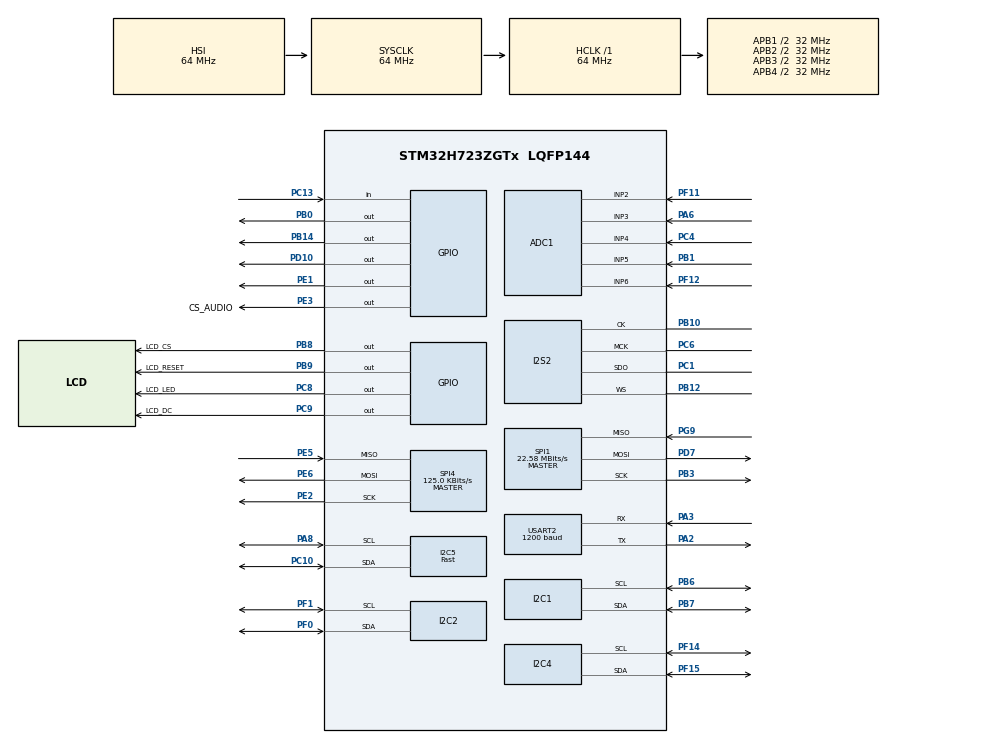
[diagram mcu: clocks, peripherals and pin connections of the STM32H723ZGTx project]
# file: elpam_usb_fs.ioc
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ADC1.Channel-0\#ChannelRegularConversion=ADC_CHANNEL_2
ADC1.Channel-1\#ChannelRegularConversion=ADC_CHANNEL_3
ADC1.Channel-2\#ChannelRegularConversion=ADC_CHANNEL_4
ADC1.Channel-3\#ChannelRegularConversion=ADC_CHANNEL_5
ADC1.Channel-4\#ChannelRegularConversion=ADC_CHANNEL_6
ADC1.ClockPrescaler=ADC_CLOCK_ASYNC_DIV12
ADC1.ContinuousConvMode=ENABLE
ADC1.ConversionDataManagement=ADC_CONVERSIONDATA_DMA_CIRCULAR
ADC1.NbrOfConversion=5
ADC1.NbrOfConversionFlag=1
ADC1.OffsetNumber-0\#ChannelRegularConversion=ADC_OFFSET_NONE
ADC1.OffsetNumber-1\#ChannelRegularConversion=ADC_OFFSET_NONE
ADC1.OffsetNumber-2\#ChannelRegularConversion=ADC_OFFSET_NONE
ADC1.OffsetNumber-3\#ChannelRegularConversion=ADC_OFFSET_NONE
ADC1.OffsetNumber-4\#ChannelRegularConversion=ADC_OFFSET_NONE
ADC1.OffsetSignedSaturation-0\#ChannelRegularConversion=DISABLE
ADC1.OffsetSignedSaturation-1\#ChannelRegularConversion=DISABLE
ADC1.OffsetSignedSaturation-2\#ChannelRegularConversion=DISABLE
ADC1.OffsetSignedSaturation-3\#ChannelRegularConversion=DISABLE
ADC1.OffsetSignedSaturation-4\#ChannelRegularConversion=DISABLE
ADC1.Rank-0\#ChannelRegularConversion=1
ADC1.Rank-1\#ChannelRegularConversion=2
ADC1.Rank-2\#ChannelRegularConversion=3
ADC1.Rank-3\#ChannelRegularConversion=4
ADC1.Rank-4\#ChannelRegularConversion=5
ADC1.SamplingTime-0\#ChannelRegularConversion=ADC_SAMPLETIME_810CYCLES_5
ADC1.SamplingTime-1\#ChannelRegularConversion=ADC_SAMPLETIME_810CYCLES_5
ADC1.SamplingTime-2\#ChannelRegularConversion=ADC_SAMPLETIME_810CYCLES_5
ADC1.SamplingTime-3\#ChannelRegularConversion=ADC_SAMPLETIME_810CYCLES_5
ADC1.SamplingTime-4\#ChannelRegularConversion=ADC_SAMPLETIME_810CYCLES_5
ADC1.master=1
CORTEX_M7.default_mode_Activation=1
Dma.ADC1.1.Direction=DMA_PERIPH_TO_MEMORY
Dma.ADC1.1.EventEnable=DISABLE
Dma.ADC1.1.FIFOMode=DMA_FIFOMODE_DISABLE
Dma.ADC1.1.Instance=DMA1_Stream1
Dma.ADC1.1.MemDataAlignment=DMA_MDATAALIGN_HALFWORD
Dma.ADC1.1.MemInc=DMA_MINC_ENABLE
Dma.ADC1.1.Mode=DMA_CIRCULAR
Dma.ADC1.1.PeriphDataAlignment=DMA_PDATAALIGN_HALFWORD
Dma.ADC1.1.PeriphInc=DMA_PINC_DISABLE
Dma.ADC1.1.Polarity=HAL_DMAMUX_REQ_GEN_RISING
Dma.ADC1.1.Priority=DMA_PRIORITY_LOW
Dma.ADC1.1.RequestNumber=1
Dma.ADC1.1.SignalID=NONE
Dma.ADC1.1.SyncEnable=DISABLE
Dma.ADC1.1.SyncPolarity=HAL_DMAMUX_SYNC_NO_EVENT
Dma.ADC1.1.SyncRequestNumber=1
Dma.ADC1.1.SyncSignalID=NONE
Dma.Request0=SPI2_TX
Dma.Request1=ADC1
Dma.SPI2_TX.0.Direction=DMA_MEMORY_TO_PERIPH
Dma.SPI2_TX.0.EventEnable=DISABLE
Dma.SPI2_TX.0.FIFOMode=DMA_FIFOMODE_DISABLE
Dma.SPI2_TX.0.Instance=DMA1_Stream0
Dma.SPI2_TX.0.MemDataAlignment=DMA_MDATAALIGN_HALFWORD
Dma.SPI2_TX.0.MemInc=DMA_MINC_ENABLE
Dma.SPI2_TX.0.Mode=DMA_CIRCULAR
Dma.SPI2_TX.0.PeriphDataAlignment=DMA_PDATAALIGN_HALFWORD
Dma.SPI2_TX.0.PeriphInc=DMA_PINC_DISABLE
Dma.SPI2_TX.0.Polarity=HAL_DMAMUX_REQ_GEN_RISING
Dma.SPI2_TX.0.Priority=DMA_PRIORITY_VERY_HIGH
Dma.SPI2_TX.0.RequestNumber=1
Dma.SPI2_TX.0.SignalID=NONE
Dma.SPI2_TX.0.SyncEnable=DISABLE
Dma.SPI2_TX.0.SyncPolarity=HAL_DMAMUX_SYNC_NO_EVENT
Dma.SPI2_TX.0.SyncRequestNumber=1
Dma.SPI2_TX.0.SyncSignalID=NONE
FATFS._CODE_PAGE=862
FATFS._LFN_UNICODE=0
FATFS._MAX_LFN=32
FATFS._MAX_SS=4096
FATFS._USE_LFN=2
FREERTOS.BinarySemaphores01=myBinarySem02,Dynamic,NULL,Available
FREERTOS.Mutexes01=timeRtcMutex,Dynamic,NULL,Available;lcdMutex,Dynamic,NULL,Available
FREERTOS.Queues01=xLCDQueue,16,LCDTaskEvent_t,0,Dynamic,NULL,NULL;xAudioQueue,16,AudioEvent_t,0,Dynamic,NULL,NULL;xUartQueue,16,UartEvent_t,0,Dynamic,NULL,NULL
FREERTOS.Tasks01=defaultTask,24,128,StartDefaultTask,Default,NULL,Dynamic,NULL,NULL;UART_Receive_Ta,24,512,UART_Receive_Task,Default,NULL,Dynamic,NULL,NULL;AudioPlaybackTa,24,1024,AudioPlaybackTask,Default,NULL,Dynamic,NULL,NULL;LCDTask,8,1024,LCDStartTask,Default,NULL,Dynamic,NULL,NULL;InputTask_Name,8,512,InputTask,Default,NULL,Dynamic,NULL,NULL
FREERTOS.configUSE_NEWLIB_REENTRANT=1
I2C1.Timing=0x00707CBB
I2C2.Timing=0x00707CBB
I2C4.Timing=0x00707CBB
I2C5.I2C_Speed_Mode=I2C_Fast
I2C5.Timing=0x00300F38
I2S2.AudioFreq=I2S_AUDIOFREQ_44K
I2S2.ErrorAudioFreq=0.22 %
I2S2.Instance=SPI$Index
I2S2.RealAudioFreq=44.101 KHz
Mcu.Family=STM32H7
Mcu.Name=STM32H723ZGTx
Mcu.Package=LQFP144
NUCLEO-H723ZG.BUTTON=1
NUCLEO-H723ZG.LD1=true
NUCLEO-H723ZG.LD2=true
NUCLEO-H723ZG.LD3=true
NUCLEO-H723ZG.VCP=true
NVIC.DMA1_Stream0_IRQn=true\:5\:0\:false\:false\:true\:true\:false\:true\:true
NVIC.DMA1_Stream1_IRQn=true\:5\:0\:false\:false\:true\:true\:false\:true\:true
NVIC.EXTI15_10_IRQn=true\:5\:0\:false\:false\:true\:true\:false\:true\:true
NVIC.PriorityGroup=NVIC_PRIORITYGROUP_4
NVIC.RTC_WKUP_IRQn=true\:5\:0\:false\:false\:true\:true\:true\:true\:true
NVIC.TIM1_UP_IRQn=true\:15\:0\:false\:false\:true\:false\:false\:true\:true
NVIC.TimeBase=TIM1_UP_IRQn
NVIC.TimeBaseIP=TIM1
NVIC.USART2_IRQn=true\:5\:0\:false\:false\:true\:true\:true\:true\:true
PA13(JTMS/SWDIO).GPIO_Label=SWDIO
PA13(JTMS/SWDIO).Mode=Serial_Wire
PA13(JTMS/SWDIO).Signal=DEBUG_JTMS-SWDIO
PA14(JTCK/SWCLK).GPIO_Label=SWCLK
PA14(JTCK/SWCLK).Mode=Serial_Wire
PA14(JTCK/SWCLK).Signal=DEBUG_JTCK-SWCLK
PA2.Mode=Asynchronous
PA2.Signal=USART2_TX
PA3.Mode=Asynchronous
PA3.Signal=USART2_RX
PA6.Signal=ADCx_INP3
PA8.Mode=I2C
PA8.Signal=I2C5_SCL
PB0.Signal=GPIO_Output
PB1.Signal=ADCx_INP5
PB10.GPIO_Speed=GPIO_SPEED_FREQ_LOW
PB10.Mode=Half_Duplex_Master_Tx
PB10.Signal=I2S2_CK
PB12.GPIO_Speed=GPIO_SPEED_FREQ_LOW
PB12.Mode=Half_Duplex_Master_Tx
PB12.Signal=I2S2_WS
PB14.Signal=GPIO_Output
PB3(JTDO/TRACESWO).GPIO_Speed=GPIO_SPEED_FREQ_VERY_HIGH
PB3(JTDO/TRACESWO).Mode=Full_Duplex_Master
PB3(JTDO/TRACESWO).Signal=SPI1_SCK
PB6.Mode=I2C
PB6.Signal=I2C1_SCL
PB7.Mode=I2C
PB7.Signal=I2C1_SDA
PB8.GPIO_Label=LCD_CS
PB8.GPIO_Speed=GPIO_SPEED_FREQ_VERY_HIGH
PB8.Signal=GPIO_Output
PB9.GPIO_Label=LCD_RESET
PB9.GPIO_Speed=GPIO_SPEED_FREQ_VERY_HIGH
PB9.Signal=GPIO_Output
PC1.GPIO_Speed=GPIO_SPEED_FREQ_LOW
PC1.Mode=Half_Duplex_Master_Tx
PC1.Signal=I2S2_SDO
PC10.Mode=I2C
PC10.Signal=I2C5_SDA
PC13.Signal=GPIO_Input
PC14-OSC32_IN.Mode=LSE-External-Oscillator
PC14-OSC32_IN.Signal=RCC_OSC32_IN
PC15-OSC32_OUT.Mode=LSE-External-Oscillator
PC15-OSC32_OUT.Signal=RCC_OSC32_OUT
PC4.Signal=ADCx_INP4
PC6.GPIO_Speed=GPIO_SPEED_FREQ_LOW
PC6.Mode=Master_Clock_Activated
PC6.Signal=I2S2_MCK
PC8.GPIO_Label=LCD_LED
PC8.GPIO_Speed=GPIO_SPEED_FREQ_VERY_HIGH
PC8.Signal=GPIO_Output
PC9.GPIO_Label=LCD_DC
PC9.GPIO_Speed=GPIO_SPEED_FREQ_VERY_HIGH
PC9.Signal=GPIO_Output
PD10.Signal=GPIO_Output
PD7.GPIO_Speed=GPIO_SPEED_FREQ_VERY_HIGH
PD7.Mode=Full_Duplex_Master
PD7.Signal=SPI1_MOSI
PD8.Signal=USART3_TX
PD9.Signal=USART3_RX
PE1.Signal=GPIO_Output
PE2.GPIO_PuPd=GPIO_PULLUP
PE2.GPIO_Speed=GPIO_SPEED_FREQ_VERY_HIGH
PE2.Mode=Full_Duplex_Master
PE2.Signal=SPI4_SCK
PE3.GPIO_Label=CS_AUDIO
PE3.Signal=GPIO_Output
PE5.GPIO_PuPd=GPIO_PULLUP
PE5.GPIO_Speed=GPIO_SPEED_FREQ_VERY_HIGH
PE5.Mode=Full_Duplex_Master
PE5.Signal=SPI4_MISO
PE6.GPIO_PuPd=GPIO_PULLUP
PE6.GPIO_Speed=GPIO_SPEED_FREQ_VERY_HIGH
PE6.Mode=Full_Duplex_Master
PE6.Signal=SPI4_MOSI
PF0.Mode=I2C
PF0.Signal=I2C2_SDA
PF1.Mode=I2C
PF1.Signal=I2C2_SCL
PF11.Mode=IN2-Single-Ended
PF11.Signal=ADC1_INP2
PF12.Mode=IN6-Single-Ended
PF12.Signal=ADC1_INP6
PF14.Mode=I2C
PF14.Signal=I2C4_SCL
PF15.Mode=I2C
PF15.Signal=I2C4_SDA
PG9.GPIO_Speed=GPIO_SPEED_FREQ_VERY_HIGH
PG9.Mode=Full_Duplex_Master
PG9.Signal=SPI1_MISO
ProjectManager.HeapSize=0x200
ProjectManager.StackSize=0x400
ProjectManager.TargetToolchain=STM32CubeIDE
RCC.ADCCLockSelection=RCC_ADCCLKSOURCE_PLL3
RCC.ADCFreq_Value=32250000
RCC.APB1Freq_Value=32000000
RCC.APB2Freq_Value=32000000
RCC.APB3Freq_Value=32000000
RCC.APB4Freq_Value=32000000
RCC.CortexFreq_Value=64000000
RCC.D1PPRE=RCC_APB3_DIV2
RCC.D2PPRE1=RCC_APB1_DIV2
RCC.D2PPRE2=RCC_APB2_DIV2
RCC.D3PPRE=RCC_APB4_DIV2
RCC.DIVM1=5
RCC.DIVM2=4
RCC.DIVN1=17
RCC.DIVN2=15
RCC.DIVP1=3
RCC.DIVP2=4
RCC.DIVQ1=5
RCC.DIVR3=8
RCC.HCLKFreq_Value=64000000
RCC.HSE_VALUE=8000000
RCC.PLL2FRACN=0
RCC.PLL3FRACN=0
RCC.PLLFRACN=5248
RCC.RTCClockSelection=RCC_RTCCLKSOURCE_LSE
RCC.SYSCLKFreq_VALUE=64000000
RCC.USBCLockSelection=RCC_USBCLKSOURCE_HSI48
RCC.USBFreq_Value=48000000
RTC.Date=28
RTC.Format=RTC_FORMAT_BIN
RTC.WakeUpClock-WakeUp=RTC_WAKEUPCLOCK_CK_SPRE_16BITS
RTC.WeekDay=RTC_WEEKDAY_WEDNESDAY
RTC.Year=26
SH.ADCx_INP3.0=ADC1_INP3,IN3-Single-Ended
SH.ADCx_INP4.0=ADC1_INP4,IN4-Single-Ended
SH.ADCx_INP5.0=ADC1_INP5,IN5-Single-Ended
SPI1.BaudRatePrescaler=SPI_BAUDRATEPRESCALER_2
SPI1.CalculateBaudRate=22.58 MBits/s
SPI1.DataSize=SPI_DATASIZE_8BIT
SPI1.Direction=SPI_DIRECTION_2LINES
SPI1.Mode=SPI_MODE_MASTER
SPI1.VirtualType=VM_MASTER
SPI4.BaudRatePrescaler=SPI_BAUDRATEPRESCALER_256
SPI4.CalculateBaudRate=125.0 KBits/s
SPI4.DataSize=SPI_DATASIZE_8BIT
SPI4.Direction=SPI_DIRECTION_2LINES
SPI4.Mode=SPI_MODE_MASTER
SPI4.VirtualType=VM_MASTER
USART2.BaudRate=1200
USART2.VirtualMode-Asynchronous=VM_ASYNC
VP_FATFS_VS_Generic.Mode=User_defined
VP_FREERTOS_VS_CMSIS_V2.Mode=CMSIS_V2
VP_MEMORYMAP_VS_MEMORYMAP.Mode=CurAppReg
VP_NUCLEO-H723ZG_VS_BSP_COMMON.Mode=COMMON
VP_RTC_VS_RTC_Activate.Mode=RTC_Enabled
VP_RTC_VS_RTC_Calendar.Mode=RTC_Calendar
VP_RTC_VS_RTC_WakeUp_intern.Mode=WakeUp
VP_SYS_VS_tim1.Mode=TIM1
board=NUCLEO-H723ZG

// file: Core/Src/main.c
/* USER CODE BEGIN Header */
/**
  ******************************************************************************
  * @file           : main.c
  * @brief          : Main program body
  ******************************************************************************
  * @attention
  *
  * Copyright (c) 2026 STMicroelectronics.
  * All rights reserved.
  *
  * This software is licensed under terms that can be found in the LICENSE file
  * in the root directory of this software component.
  * If no LICENSE file comes with this software, it is provided AS-IS.
  *
  ******************************************************************************
  */
/* USER CODE END Header */
#include "main.h"
#include "cmsis_os.h"
#include "fatfs.h"

/* USER CODE BEGIN Includes */
#include <string.h>
#include "queue.h"
#include "rs232.h"
#include "command_dispatcher.h"
#include "audio.h"
#include "hx8357d.h"
#include "lcd_menu.h"
#include "mcp23008_btns.h"
#include "fatfs_sd_spi.h"
#include "analog.h"
/* USER CODE END Includes */

COM_InitTypeDef BspCOMInit;
ADC_HandleTypeDef hadc1;
DMA_HandleTypeDef hdma_adc1;

I2C_HandleTypeDef hi2c1;
I2C_HandleTypeDef hi2c2;
I2C_HandleTypeDef hi2c4;
I2C_HandleTypeDef hi2c5;

I2S_HandleTypeDef hi2s2;
DMA_HandleTypeDef hdma_spi2_tx;

RTC_HandleTypeDef hrtc;

SPI_HandleTypeDef hspi1;
SPI_HandleTypeDef hspi4;

UART_HandleTypeDef huart2;

/* Definitions for defaultTask */
osThreadId_t defaultTaskHandle;
const osThreadAttr_t defaultTask_attributes = {
  .name = "defaultTask",
  .stack_size = 128 * 4,
  .priority = (osPriority_t) osPriorityNormal,
};
/* Definitions for UART_Receive_Ta */
osThreadId_t UART_Receive_TaHandle;
const osThreadAttr_t UART_Receive_Ta_attributes = {
  .name = "UART_Receive_Ta",
  .stack_size = 512 * 4,
  .priority = (osPriority_t) osPriorityNormal,
};
/* Definitions for AudioPlaybackTa */
osThreadId_t AudioPlaybackTaHandle;
const osThreadAttr_t AudioPlaybackTa_attributes = {
  .name = "AudioPlaybackTa",
  .stack_size = 1024 * 4,
  .priority = (osPriority_t) osPriorityNormal,
};
/* Definitions for LCDTask */
osThreadId_t LCDTaskHandle;
const osThreadAttr_t LCDTask_attributes = {
  .name = "LCDTask",
  .stack_size = 1024 * 4,
  .priority = (osPriority_t) osPriorityLow,
};
/* Definitions for InputTask_Name */
osThreadId_t InputTask_NameHandle;
const osThreadAttr_t InputTask_Name_attributes = {
  .name = "InputTask_Name",
  .stack_size = 512 * 4,
  .priority = (osPriority_t) osPriorityLow,
};
/* Definitions for xLCDQueue */
osMessageQueueId_t xLCDQueueHandle;
const osMessageQueueAttr_t xLCDQueue_attributes = {
  .name = "xLCDQueue"
};
/* Definitions for xAudioQueue */
osMessageQueueId_t xAudioQueueHandle;
const osMessageQueueAttr_t xAudioQueue_attributes = {
  .name = "xAudioQueue"
};
/* Definitions for xUartQueue */
osMessageQueueId_t xUartQueueHandle;
const osMessageQueueAttr_t xUartQueue_attributes = {
  .name = "xUartQueue"
};
/* Definitions for timeRtcMutex */
osMutexId_t timeRtcMutexHandle;
const osMutexAttr_t timeRtcMutex_attributes = {
  .name = "timeRtcMutex"
};
/* Definitions for lcdMutex */
osMutexId_t lcdMutexHandle;
const osMutexAttr_t lcdMutex_attributes = {
  .name = "lcdMutex"
};
/* Definitions for myBinarySem02 */
osSemaphoreId_t myBinarySem02Handle;
const osSemaphoreAttr_t myBinarySem02_attributes = {
  .name = "myBinarySem02"
};

void SystemClock_Config(void);
static void MPU_Config(void);
static void MX_GPIO_Init(void);
static void MX_DMA_Init(void);
static void MX_I2C5_Init(void);
static void MX_I2S2_Init(void);
static void MX_USART2_UART_Init(void);
static void MX_I2C1_Init(void);
static void MX_I2C2_Init(void);
static void MX_I2C4_Init(void);
static void MX_SPI1_Init(void);
static void MX_SPI4_Init(void);
static void MX_RTC_Init(void);
static void MX_ADC1_Init(void);
void StartDefaultTask(void *argument);
void UART_Receive_Task(void *argument);
void AudioPlaybackTask(void *argument);
void LCDStartTask(void *argument);
void InputTask(void *argument);

/* USER CODE BEGIN PFP */
void Print_Msg(const char* msg)
{
	HAL_UART_Transmit(&huart2, (uint8_t *)msg, strlen(msg), 1000);
}

void HAL_RTCEx_WakeUpTimerEventCallback(RTC_HandleTypeDef *hrtc)
{
	LCDTaskEvent_t lcd_event = {.event = LCD_EVENT_RTC};
    xQueueSendFromISR(xLCDQueueHandle, &lcd_event, NULL);

    AudioEvent_t audio_event = AUDIO_TIMER;
	xQueueSendFromISR(xAudioQueueHandle, &audio_event, NULL);
}
/* USER CODE END PFP */

int main(void)
{

  /* MPU Configuration--------------------------------------------------------*/
  MPU_Config();

  /* MCU Configuration--------------------------------------------------------*/

  /* Reset of all peripherals, Initializes the Flash interface and the Systick. */
  HAL_Init();

  /* Configure the system clock */
  SystemClock_Config();

  /* Initialize all configured peripherals */
  MX_GPIO_Init();
  MX_DMA_Init();
  MX_I2C5_Init();
  MX_I2S2_Init();
  MX_USART2_UART_Init();
  MX_I2C1_Init();
  MX_I2C2_Init();
  MX_I2C4_Init();
  MX_SPI1_Init();
  MX_FATFS_Init();
  MX_SPI4_Init();
  MX_RTC_Init();
  MX_ADC1_Init();

  /* Init scheduler */
  osKernelInitialize();
  /* Create the mutex(es) */
  /* creation of timeRtcMutex */
  timeRtcMutexHandle = osMutexNew(&timeRtcMutex_attributes);

  /* creation of lcdMutex */
  lcdMutexHandle = osMutexNew(&lcdMutex_attributes);

  /* Create the semaphores(s) */
  /* creation of myBinarySem02 */
  myBinarySem02Handle = osSemaphoreNew(1, 1, &myBinarySem02_attributes);

  /* Create the queue(s) */
  /* creation of xLCDQueue */
  xLCDQueueHandle = osMessageQueueNew (16, sizeof(LCDTaskEvent_t), &xLCDQueue_attributes);

  /* creation of xAudioQueue */
  xAudioQueueHandle = osMessageQueueNew (16, sizeof(AudioEvent_t), &xAudioQueue_attributes);

  /* creation of xUartQueue */
  xUartQueueHandle = osMessageQueueNew (16, sizeof(UartEvent_t), &xUartQueue_attributes);

  /* Create the thread(s) */
  /* creation of defaultTask */
  defaultTaskHandle = osThreadNew(StartDefaultTask, NULL, &defaultTask_attributes);

  /* creation of UART_Receive_Ta */
  UART_Receive_TaHandle = osThreadNew(UART_Receive_Task, NULL, &UART_Receive_Ta_attributes);

  /* creation of AudioPlaybackTa */
  AudioPlaybackTaHandle = osThreadNew(AudioPlaybackTask, NULL, &AudioPlaybackTa_attributes);

  /* creation of LCDTask */
  LCDTaskHandle = osThreadNew(LCDStartTask, NULL, &LCDTask_attributes);

  /* creation of InputTask_Name */
  InputTask_NameHandle = osThreadNew(InputTask, NULL, &InputTask_Name_attributes);

  /* Initialize leds */
  BSP_LED_Init(LED_GREEN);
  BSP_LED_Init(LED_YELLOW);
  BSP_LED_Init(LED_RED);

  /* Initialize USER push-button, will be used to trigger an interrupt each time it's pressed.*/
  BSP_PB_Init(BUTTON_USER, BUTTON_MODE_EXTI);

  /* Initialize COM1 port (115200, 8 bits (7-bit data + 1 stop bit), no parity */
  BspCOMInit.BaudRate   = 115200;
  BspCOMInit.WordLength = COM_WORDLENGTH_8B;
  BspCOMInit.StopBits   = COM_STOPBITS_1;
  BspCOMInit.Parity     = COM_PARITY_NONE;
  BspCOMInit.HwFlowCtl  = COM_HWCONTROL_NONE;
  if (BSP_COM_Init(COM1, &BspCOMInit) != BSP_ERROR_NONE)
  {
    Error_Handler();
  }

  /* Start scheduler */
  osKernelStart();

  /* We should never get here as control is now taken by the scheduler */

  /* Infinite loop */
  while (1)
  {

  }
}

void SystemClock_Config(void)
{
  RCC_OscInitTypeDef RCC_OscInitStruct = {0};
  RCC_ClkInitTypeDef RCC_ClkInitStruct = {0};

  /** Supply configuration update enable
  */
  HAL_PWREx_ConfigSupply(PWR_LDO_SUPPLY);

  /** Configure the main internal regulator output voltage
  */
  __HAL_PWR_VOLTAGESCALING_CONFIG(PWR_REGULATOR_VOLTAGE_SCALE3);

  while(!__HAL_PWR_GET_FLAG(PWR_FLAG_VOSRDY)) {}

  /** Configure LSE Drive Capability
  */
  HAL_PWR_EnableBkUpAccess();
  __HAL_RCC_LSEDRIVE_CONFIG(RCC_LSEDRIVE_LOW);

  /** Initializes the RCC Oscillators according to the specified parameters
  * in the RCC_OscInitTypeDef structure.
  */
  RCC_OscInitStruct.OscillatorType = RCC_OSCILLATORTYPE_HSI|RCC_OSCILLATORTYPE_LSE;
  RCC_OscInitStruct.LSEState = RCC_LSE_ON;
  RCC_OscInitStruct.HSIState = RCC_HSI_DIV1;
  RCC_OscInitStruct.HSICalibrationValue = 64;
  RCC_OscInitStruct.PLL.PLLState = RCC_PLL_ON;
  RCC_OscInitStruct.PLL.PLLSource = RCC_PLLSOURCE_HSI;
  RCC_OscInitStruct.PLL.PLLM = 5;
  RCC_OscInitStruct.PLL.PLLN = 17;
  RCC_OscInitStruct.PLL.PLLP = 3;
  RCC_OscInitStruct.PLL.PLLQ = 5;
  RCC_OscInitStruct.PLL.PLLR = 2;
  RCC_OscInitStruct.PLL.PLLRGE = RCC_PLL1VCIRANGE_3;
  RCC_OscInitStruct.PLL.PLLVCOSEL = RCC_PLL1VCOWIDE;
  RCC_OscInitStruct.PLL.PLLFRACN = 5248;
  if (HAL_RCC_OscConfig(&RCC_OscInitStruct) != HAL_OK)
  {
    Error_Handler();
  }

  /** Initializes the CPU, AHB and APB buses clocks
  */
  RCC_ClkInitStruct.ClockType = RCC_CLOCKTYPE_HCLK|RCC_CLOCKTYPE_SYSCLK
                              |RCC_CLOCKTYPE_PCLK1|RCC_CLOCKTYPE_PCLK2
                              |RCC_CLOCKTYPE_D3PCLK1|RCC_CLOCKTYPE_D1PCLK1;
  RCC_ClkInitStruct.SYSCLKSource = RCC_SYSCLKSOURCE_HSI;
  RCC_ClkInitStruct.SYSCLKDivider = RCC_SYSCLK_DIV1;
  RCC_ClkInitStruct.AHBCLKDivider = RCC_HCLK_DIV1;
  RCC_ClkInitStruct.APB3CLKDivider = RCC_APB3_DIV2;
  RCC_ClkInitStruct.APB1CLKDivider = RCC_APB1_DIV2;
  RCC_ClkInitStruct.APB2CLKDivider = RCC_APB2_DIV2;
  RCC_ClkInitStruct.APB4CLKDivider = RCC_APB4_DIV2;

  if (HAL_RCC_ClockConfig(&RCC_ClkInitStruct, FLASH_LATENCY_1) != HAL_OK)
  {
    Error_Handler();
  }
}

static void MX_ADC1_Init(void)
{

  ADC_MultiModeTypeDef multimode = {0};
  ADC_ChannelConfTypeDef sConfig = {0};

  /** Common config
  */
  hadc1.Instance = ADC1;
  hadc1.Init.ClockPrescaler = ADC_CLOCK_ASYNC_DIV12;
  hadc1.Init.Resolution = ADC_RESOLUTION_16B;
  hadc1.Init.ScanConvMode = ADC_SCAN_ENABLE;
  hadc1.Init.EOCSelection = ADC_EOC_SINGLE_CONV;
  hadc1.Init.LowPowerAutoWait = DISABLE;
  hadc1.Init.ContinuousConvMode = ENABLE;
  hadc1.Init.NbrOfConversion = 5;
  hadc1.Init.DiscontinuousConvMode = DISABLE;
  hadc1.Init.ExternalTrigConv = ADC_SOFTWARE_START;
  hadc1.Init.ExternalTrigConvEdge = ADC_EXTERNALTRIGCONVEDGE_NONE;
  hadc1.Init.ConversionDataManagement = ADC_CONVERSIONDATA_DMA_CIRCULAR;
  hadc1.Init.Overrun = ADC_OVR_DATA_PRESERVED;
  hadc1.Init.LeftBitShift = ADC_LEFTBITSHIFT_NONE;
  hadc1.Init.OversamplingMode = DISABLE;
  hadc1.Init.Oversampling.Ratio = 1;
  if (HAL_ADC_Init(&hadc1) != HAL_OK)
  {
    Error_Handler();
  }

  /** Configure the ADC multi-mode
  */
  multimode.Mode = ADC_MODE_INDEPENDENT;
  if (HAL_ADCEx_MultiModeConfigChannel(&hadc1, &multimode) != HAL_OK)
  {
    Error_Handler();
  }

  /** Configure Regular Channel
  */
  sConfig.Channel = ADC_CHANNEL_2;
  sConfig.Rank = ADC_REGULAR_RANK_1;
  sConfig.SamplingTime = ADC_SAMPLETIME_810CYCLES_5;
  sConfig.SingleDiff = ADC_SINGLE_ENDED;
  sConfig.OffsetNumber = ADC_OFFSET_NONE;
  sConfig.Offset = 0;
  sConfig.OffsetSignedSaturation = DISABLE;
  if (HAL_ADC_ConfigChannel(&hadc1, &sConfig) != HAL_OK)
  {
    Error_Handler();
  }

  /** Configure Regular Channel
  */
  sConfig.Channel = ADC_CHANNEL_3;
  sConfig.Rank = ADC_REGULAR_RANK_2;
  if (HAL_ADC_ConfigChannel(&hadc1, &sConfig) != HAL_OK)
  {
    Error_Handler();
  }

  /** Configure Regular Channel
  */
  sConfig.Channel = ADC_CHANNEL_4;
  sConfig.Rank = ADC_REGULAR_RANK_3;
  if (HAL_ADC_ConfigChannel(&hadc1, &sConfig) != HAL_OK)
  {
    Error_Handler();
  }

  /** Configure Regular Channel
  */
  sConfig.Channel = ADC_CHANNEL_5;
  sConfig.Rank = ADC_REGULAR_RANK_4;
  if (HAL_ADC_ConfigChannel(&hadc1, &sConfig) != HAL_OK)
  {
    Error_Handler();
  }

  /** Configure Regular Channel
  */
  sConfig.Channel = ADC_CHANNEL_6;
  sConfig.Rank = ADC_REGULAR_RANK_5;
  if (HAL_ADC_ConfigChannel(&hadc1, &sConfig) != HAL_OK)
  {
    Error_Handler();
  }

}

static void MX_I2C1_Init(void)
{

  hi2c1.Instance = I2C1;
  hi2c1.Init.Timing = 0x00707CBB;
  hi2c1.Init.OwnAddress1 = 0;
  hi2c1.Init.AddressingMode = I2C_ADDRESSINGMODE_7BIT;
  hi2c1.Init.DualAddressMode = I2C_DUALADDRESS_DISABLE;
  hi2c1.Init.OwnAddress2 = 0;
  hi2c1.Init.OwnAddress2Masks = I2C_OA2_NOMASK;
  hi2c1.Init.GeneralCallMode = I2C_GENERALCALL_DISABLE;
  hi2c1.Init.NoStretchMode = I2C_NOSTRETCH_DISABLE;
  if (HAL_I2C_Init(&hi2c1) != HAL_OK)
  {
    Error_Handler();
  }

  /** Configure Analogue filter
  */
  if (HAL_I2CEx_ConfigAnalogFilter(&hi2c1, I2C_ANALOGFILTER_ENABLE) != HAL_OK)
  {
    Error_Handler();
  }

  /** Configure Digital filter
  */
  if (HAL_I2CEx_ConfigDigitalFilter(&hi2c1, 0) != HAL_OK)
  {
    Error_Handler();
  }

}

static void MX_I2C2_Init(void)
{

  hi2c2.Instance = I2C2;
  hi2c2.Init.Timing = 0x00707CBB;
  hi2c2.Init.OwnAddress1 = 0;
  hi2c2.Init.AddressingMode = I2C_ADDRESSINGMODE_7BIT;
  hi2c2.Init.DualAddressMode = I2C_DUALADDRESS_DISABLE;
  hi2c2.Init.OwnAddress2 = 0;
  hi2c2.Init.OwnAddress2Masks = I2C_OA2_NOMASK;
  hi2c2.Init.GeneralCallMode = I2C_GENERALCALL_DISABLE;
  hi2c2.Init.NoStretchMode = I2C_NOSTRETCH_DISABLE;
  if (HAL_I2C_Init(&hi2c2) != HAL_OK)
  {
    Error_Handler();
  }

  /** Configure Analogue filter
  */
  if (HAL_I2CEx_ConfigAnalogFilter(&hi2c2, I2C_ANALOGFILTER_ENABLE) != HAL_OK)
  {
    Error_Handler();
  }

  /** Configure Digital filter
  */
  if (HAL_I2CEx_ConfigDigitalFilter(&hi2c2, 0) != HAL_OK)
  {
    Error_Handler();
  }

}

static void MX_I2C4_Init(void)
{

  hi2c4.Instance = I2C4;
  hi2c4.Init.Timing = 0x00707CBB;
  hi2c4.Init.OwnAddress1 = 0;
  hi2c4.Init.AddressingMode = I2C_ADDRESSINGMODE_7BIT;
  hi2c4.Init.DualAddressMode = I2C_DUALADDRESS_DISABLE;
  hi2c4.Init.OwnAddress2 = 0;
  hi2c4.Init.OwnAddress2Masks = I2C_OA2_NOMASK;
  hi2c4.Init.GeneralCallMode = I2C_GENERALCALL_DISABLE;
  hi2c4.Init.NoStretchMode = I2C_NOSTRETCH_DISABLE;
  if (HAL_I2C_Init(&hi2c4) != HAL_OK)
  {
    Error_Handler();
  }

  /** Configure Analogue filter
  */
  if (HAL_I2CEx_ConfigAnalogFilter(&hi2c4, I2C_ANALOGFILTER_ENABLE) != HAL_OK)
  {
    Error_Handler();
  }

  /** Configure Digital filter
  */
  if (HAL_I2CEx_ConfigDigitalFilter(&hi2c4, 0) != HAL_OK)
  {
    Error_Handler();
  }

}

static void MX_I2C5_Init(void)
{

  hi2c5.Instance = I2C5;
  hi2c5.Init.Timing = 0x00300F38;
  hi2c5.Init.OwnAddress1 = 0;
  hi2c5.Init.AddressingMode = I2C_ADDRESSINGMODE_7BIT;
  hi2c5.Init.DualAddressMode = I2C_DUALADDRESS_DISABLE;
  hi2c5.Init.OwnAddress2 = 0;
  hi2c5.Init.OwnAddress2Masks = I2C_OA2_NOMASK;
  hi2c5.Init.GeneralCallMode = I2C_GENERALCALL_DISABLE;
  hi2c5.Init.NoStretchMode = I2C_NOSTRETCH_DISABLE;
  if (HAL_I2C_Init(&hi2c5) != HAL_OK)
  {
    Error_Handler();
  }

  /** Configure Analogue filter
  */
  if (HAL_I2CEx_ConfigAnalogFilter(&hi2c5, I2C_ANALOGFILTER_ENABLE) != HAL_OK)
  {
    Error_Handler();
  }

  /** Configure Digital filter
  */
  if (HAL_I2CEx_ConfigDigitalFilter(&hi2c5, 0) != HAL_OK)
  {
    Error_Handler();
  }

}

static void MX_I2S2_Init(void)
{

  hi2s2.Instance = SPI2;
  hi2s2.Init.Mode = I2S_MODE_MASTER_TX;
  hi2s2.Init.Standard = I2S_STANDARD_PHILIPS;
  hi2s2.Init.DataFormat = I2S_DATAFORMAT_16B;
  hi2s2.Init.MCLKOutput = I2S_MCLKOUTPUT_ENABLE;
  hi2s2.Init.AudioFreq = I2S_AUDIOFREQ_44K;
  hi2s2.Init.CPOL = I2S_CPOL_LOW;
  hi2s2.Init.FirstBit = I2S_FIRSTBIT_MSB;
  hi2s2.Init.WSInversion = I2S_WS_INVERSION_DISABLE;
  hi2s2.Init.Data24BitAlignment = I2S_DATA_24BIT_ALIGNMENT_RIGHT;
  hi2s2.Init.MasterKeepIOState = I2S_MASTER_KEEP_IO_STATE_DISABLE;
  if (HAL_I2S_Init(&hi2s2) != HAL_OK)
  {
    Error_Handler();
  }
  /* USER CODE BEGIN I2S2_Init 2 */
	hi2s2.Init.MCLKOutput = I2S_MCLKOUTPUT_DISABLE;
	HAL_I2S_Init(&hi2s2);
  /* USER CODE END I2S2_Init 2 */

}

static void MX_RTC_Init(void)
{

  RTC_TimeTypeDef sTime = {0};
  RTC_DateTypeDef sDate = {0};

  /** Initialize RTC Only
  */
  hrtc.Instance = RTC;
  hrtc.Init.HourFormat = RTC_HOURFORMAT_24;
  hrtc.Init.AsynchPrediv = 127;
  hrtc.Init.SynchPrediv = 255;
  hrtc.Init.OutPut = RTC_OUTPUT_DISABLE;
  hrtc.Init.OutPutPolarity = RTC_OUTPUT_POLARITY_HIGH;
  hrtc.Init.OutPutType = RTC_OUTPUT_TYPE_OPENDRAIN;
  hrtc.Init.OutPutRemap = RTC_OUTPUT_REMAP_NONE;
  if (HAL_RTC_Init(&hrtc) != HAL_OK)
  {
    Error_Handler();
  }

  /** Initialize RTC and set the Time and Date
  */
  sTime.Hours = 0;
  sTime.Minutes = 0;
  sTime.Seconds = 0;
  sTime.DayLightSaving = RTC_DAYLIGHTSAVING_NONE;
  sTime.StoreOperation = RTC_STOREOPERATION_RESET;
  if (HAL_RTC_SetTime(&hrtc, &sTime, RTC_FORMAT_BIN) != HAL_OK)
  {
    Error_Handler();
  }
  sDate.WeekDay = RTC_WEEKDAY_WEDNESDAY;
  sDate.Month = RTC_MONTH_JANUARY;
  sDate.Date = 28;
  sDate.Year = 26;

  if (HAL_RTC_SetDate(&hrtc, &sDate, RTC_FORMAT_BIN) != HAL_OK)
  {
    Error_Handler();
  }

  /** Enable the WakeUp
  */
  if (HAL_RTCEx_SetWakeUpTimer_IT(&hrtc, 0, RTC_WAKEUPCLOCK_CK_SPRE_16BITS) != HAL_OK)
  {
    Error_Handler();
  }
  /* USER CODE BEGIN RTC_Init 2 */
  uint32_t saved_magic = HAL_RTCEx_BKUPRead(&hrtc, RTC_BKP_DR0);

  bool rtc_was_initialized = (saved_magic == 0xA5A5A5A5);

  if (!rtc_was_initialized)
  {
	  RTC_TimeTypeDef sTime = { .Hours = 0, .Minutes = 0, .Seconds = 0 };
	  RTC_DateTypeDef sDate = { .WeekDay = RTC_WEEKDAY_MONDAY, .Month = RTC_MONTH_JANUARY, .Date = 1, .Year = 26 };

	  HAL_RTC_SetTime(&hrtc, &sTime, RTC_FORMAT_BIN);
	  HAL_RTC_SetDate(&hrtc, &sDate, RTC_FORMAT_BIN);

	  HAL_RTCEx_BKUPWrite(&hrtc, RTC_BKP_DR0, 0xA5A5A5A5);
  }
  //HAL_RTCEx_DeactivateWakeUpTimer(&hrtc);
  __HAL_RTC_WAKEUPTIMER_CLEAR_FLAG(&hrtc, RTC_FLAG_WUTF);
  /* USER CODE END RTC_Init 2 */

}

static void MX_SPI1_Init(void)
{

  /* SPI1 parameter configuration*/
  hspi1.Instance = SPI1;
  hspi1.Init.Mode = SPI_MODE_MASTER;
  hspi1.Init.Direction = SPI_DIRECTION_2LINES;
  hspi1.Init.DataSize = SPI_DATASIZE_8BIT;
  hspi1.Init.CLKPolarity = SPI_POLARITY_LOW;
  hspi1.Init.CLKPhase = SPI_PHASE_1EDGE;
  hspi1.Init.NSS = SPI_NSS_SOFT;
  hspi1.Init.BaudRatePrescaler = SPI_BAUDRATEPRESCALER_2;
  hspi1.Init.FirstBit = SPI_FIRSTBIT_MSB;
  hspi1.Init.TIMode = SPI_TIMODE_DISABLE;
  hspi1.Init.CRCCalculation = SPI_CRCCALCULATION_DISABLE;
  hspi1.Init.CRCPolynomial = 0x0;
  hspi1.Init.NSSPMode = SPI_NSS_PULSE_ENABLE;
  hspi1.Init.NSSPolarity = SPI_NSS_POLARITY_LOW;
  hspi1.Init.FifoThreshold = SPI_FIFO_THRESHOLD_01DATA;
  hspi1.Init.TxCRCInitializationPattern = SPI_CRC_INITIALIZATION_ALL_ZERO_PATTERN;
  hspi1.Init.RxCRCInitializationPattern = SPI_CRC_INITIALIZATION_ALL_ZERO_PATTERN;
  hspi1.Init.MasterSSIdleness = SPI_MASTER_SS_IDLENESS_00CYCLE;
  hspi1.Init.MasterInterDataIdleness = SPI_MASTER_INTERDATA_IDLENESS_00CYCLE;
  hspi1.Init.MasterReceiverAutoSusp = SPI_MASTER_RX_AUTOSUSP_DISABLE;
  hspi1.Init.MasterKeepIOState = SPI_MASTER_KEEP_IO_STATE_DISABLE;
  hspi1.Init.IOSwap = SPI_IO_SWAP_DISABLE;
  if (HAL_SPI_Init(&hspi1) != HAL_OK)
  {
    Error_Handler();
  }

}

static void MX_SPI4_Init(void)
{

  /* SPI4 parameter configuration*/
  hspi4.Instance = SPI4;
  hspi4.Init.Mode = SPI_MODE_MASTER;
  hspi4.Init.Direction = SPI_DIRECTION_2LINES;
  hspi4.Init.DataSize = SPI_DATASIZE_8BIT;
  hspi4.Init.CLKPolarity = SPI_POLARITY_LOW;
  hspi4.Init.CLKPhase = SPI_PHASE_1EDGE;
  hspi4.Init.NSS = SPI_NSS_SOFT;
  hspi4.Init.BaudRatePrescaler = SPI_BAUDRATEPRESCALER_256;
  hspi4.Init.FirstBit = SPI_FIRSTBIT_MSB;
  hspi4.Init.TIMode = SPI_TIMODE_DISABLE;
  hspi4.Init.CRCCalculation = SPI_CRCCALCULATION_DISABLE;
  hspi4.Init.CRCPolynomial = 0x0;
  hspi4.Init.NSSPMode = SPI_NSS_PULSE_ENABLE;
  hspi4.Init.NSSPolarity = SPI_NSS_POLARITY_LOW;
  hspi4.Init.FifoThreshold = SPI_FIFO_THRESHOLD_01DATA;
  hspi4.Init.TxCRCInitializationPattern = SPI_CRC_INITIALIZATION_ALL_ZERO_PATTERN;
  hspi4.Init.RxCRCInitializationPattern = SPI_CRC_INITIALIZATION_ALL_ZERO_PATTERN;
  hspi4.Init.MasterSSIdleness = SPI_MASTER_SS_IDLENESS_00CYCLE;
  hspi4.Init.MasterInterDataIdleness = SPI_MASTER_INTERDATA_IDLENESS_00CYCLE;
  hspi4.Init.MasterReceiverAutoSusp = SPI_MASTER_RX_AUTOSUSP_DISABLE;
  hspi4.Init.MasterKeepIOState = SPI_MASTER_KEEP_IO_STATE_DISABLE;
  hspi4.Init.IOSwap = SPI_IO_SWAP_DISABLE;
  if (HAL_SPI_Init(&hspi4) != HAL_OK)
  {
    Error_Handler();
  }

}

static void MX_USART2_UART_Init(void)
{

  huart2.Instance = USART2;
  huart2.Init.BaudRate = 1200;
  huart2.Init.WordLength = UART_WORDLENGTH_8B;
  huart2.Init.StopBits = UART_STOPBITS_1;
  huart2.Init.Parity = UART_PARITY_NONE;
  huart2.Init.Mode = UART_MODE_TX_RX;
  huart2.Init.HwFlowCtl = UART_HWCONTROL_NONE;
  huart2.Init.OverSampling = UART_OVERSAMPLING_16;
  huart2.Init.OneBitSampling = UART_ONE_BIT_SAMPLE_DISABLE;
  huart2.Init.ClockPrescaler = UART_PRESCALER_DIV1;
  huart2.AdvancedInit.AdvFeatureInit = UART_ADVFEATURE_NO_INIT;
  if (HAL_UART_Init(&huart2) != HAL_OK)
  {
    Error_Handler();
  }
  if (HAL_UARTEx_SetTxFifoThreshold(&huart2, UART_TXFIFO_THRESHOLD_1_8) != HAL_OK)
  {
    Error_Handler();
  }
  if (HAL_UARTEx_SetRxFifoThreshold(&huart2, UART_RXFIFO_THRESHOLD_1_8) != HAL_OK)
  {
    Error_Handler();
  }
  if (HAL_UARTEx_DisableFifoMode(&huart2) != HAL_OK)
  {
    Error_Handler();
  }

}

static void MX_DMA_Init(void)
{

  /* DMA controller clock enable */
  __HAL_RCC_DMA1_CLK_ENABLE();

  /* DMA interrupt init */
  /* DMA1_Stream0_IRQn interrupt configuration */
  HAL_NVIC_SetPriority(DMA1_Stream0_IRQn, 5, 0);
  HAL_NVIC_EnableIRQ(DMA1_Stream0_IRQn);
  /* DMA1_Stream1_IRQn interrupt configuration */
  HAL_NVIC_SetPriority(DMA1_Stream1_IRQn, 5, 0);
  HAL_NVIC_EnableIRQ(DMA1_Stream1_IRQn);

}

static void MX_GPIO_Init(void)
{
  GPIO_InitTypeDef GPIO_InitStruct = {0};

  /* GPIO Ports Clock Enable */
  __HAL_RCC_GPIOE_CLK_ENABLE();
  __HAL_RCC_GPIOC_CLK_ENABLE();
  __HAL_RCC_GPIOF_CLK_ENABLE();
  __HAL_RCC_GPIOA_CLK_ENABLE();
  __HAL_RCC_GPIOB_CLK_ENABLE();
  __HAL_RCC_GPIOD_CLK_ENABLE();
  __HAL_RCC_GPIOG_CLK_ENABLE();

  /*Configure GPIO pin Output Level */
  HAL_GPIO_WritePin(CS_AUDIO_GPIO_Port, CS_AUDIO_Pin, GPIO_PIN_RESET);

  /*Configure GPIO pin Output Level */
  HAL_GPIO_WritePin(GPIOD, GPIO_PIN_10, GPIO_PIN_RESET);

  /*Configure GPIO pin Output Level */
  HAL_GPIO_WritePin(GPIOC, LCD_LED_Pin|LCD_DC_Pin, GPIO_PIN_RESET);

  /*Configure GPIO pin Output Level */
  HAL_GPIO_WritePin(GPIOB, LCD_CS_Pin|LCD_RESET_Pin, GPIO_PIN_RESET);

  /*Configure GPIO pin : CS_AUDIO_Pin */
  GPIO_InitStruct.Pin = CS_AUDIO_Pin;
  GPIO_InitStruct.Mode = GPIO_MODE_OUTPUT_PP;
  GPIO_InitStruct.Pull = GPIO_NOPULL;
  GPIO_InitStruct.Speed = GPIO_SPEED_FREQ_LOW;
  HAL_GPIO_Init(CS_AUDIO_GPIO_Port, &GPIO_InitStruct);

  /*Configure GPIO pin : PD10 */
  GPIO_InitStruct.Pin = GPIO_PIN_10;
  GPIO_InitStruct.Mode = GPIO_MODE_OUTPUT_PP;
  GPIO_InitStruct.Pull = GPIO_NOPULL;
  GPIO_InitStruct.Speed = GPIO_SPEED_FREQ_LOW;
  HAL_GPIO_Init(GPIOD, &GPIO_InitStruct);

  /*Configure GPIO pins : LCD_LED_Pin LCD_DC_Pin */
  GPIO_InitStruct.Pin = LCD_LED_Pin|LCD_DC_Pin;
  GPIO_InitStruct.Mode = GPIO_MODE_OUTPUT_PP;
  GPIO_InitStruct.Pull = GPIO_NOPULL;
  GPIO_InitStruct.Speed = GPIO_SPEED_FREQ_VERY_HIGH;
  HAL_GPIO_Init(GPIOC, &GPIO_InitStruct);

  /*Configure GPIO pins : LCD_CS_Pin LCD_RESET_Pin */
  GPIO_InitStruct.Pin = LCD_CS_Pin|LCD_RESET_Pin;
  GPIO_InitStruct.Mode = GPIO_MODE_OUTPUT_PP;
  GPIO_InitStruct.Pull = GPIO_NOPULL;
  GPIO_InitStruct.Speed = GPIO_SPEED_FREQ_VERY_HIGH;
  HAL_GPIO_Init(GPIOB, &GPIO_InitStruct);

}

void StartDefaultTask(void *argument)
{
  /* USER CODE BEGIN 5 */
	if (HAL_ADCEx_Calibration_Start(&hadc1, ADC_CALIB_OFFSET, ADC_SINGLE_ENDED) != HAL_OK)
	{
		Error_Handler();
	}

	if (HAL_ADC_Start_DMA(&hadc1,(uint32_t *)adc_buff, ADC_BUFF_SIZE) != HAL_OK)
	{
		Error_Handler();
	}
  /* Infinite loop */
  for(;;)
  {
    osDelay(1);
  }
  /* USER CODE END 5 */
}

void UART_Receive_Task(void *argument)
{
  /* USER CODE BEGIN UART_Receive_Task */
	rs232_init(&huart2);

	// === Register all handlers from  command_dispatcher ===
	rs232_register_arm(handle_arm);
	rs232_register_all_clear_1(handle_all_clear_1);
	rs232_register_all_clear_2(handle_all_clear_2);
	rs232_register_alarm(handle_alarm);
	rs232_register_chemical(handle_chemical);
	rs232_register_disarm(handle_disarm);
	rs232_register_cancel(handle_cancel);
	rs232_register_quiet_test(handle_quiet_test);
	rs232_register_reserve_1(handle_reserve_1);
	rs232_register_reserve_2(handle_reserve_2);
	rs232_register_reserve_3(handle_reserve_3);
	rs232_register_remote_pa(handle_remote_pa);
	rs232_register_reset(handle_reset);
	rs232_register_volume_up(volume_up_handler);
	rs232_register_volume_down(volume_down_handler);
	rs232_register_report(system_fill_report);
	rs232_register_unknown(handle_unknown_command);

	rs232_register_enter(handle_enter_command);
	rs232_register_up(handle_up_command);
	rs232_register_down(handle_down_command);
	rs232_register_esc(handle_esc_command);
	rs232_register_cnlbtn(handle_cancel_command);
	rs232_register_test(handle_test_command);
	rs232_register_announc(handle_announc_command);
	rs232_register_message(handle_message_command);
	rs232_register_almbtn(handle_alarm_command);
	rs232_register_armbtn(handle_arm_command);

	system_status_init();
	UartEvent_t event;

  /* Infinite loop */
	for(;;)
	{

		if (xQueueReceive(xUartQueueHandle, &event, portMAX_DELAY))
		{
			rs232_process(event);
		}
//		osDelay(10);
	}
  /* USER CODE END UART_Receive_Task */
}

void AudioPlaybackTask(void *argument)
{
  /* USER CODE BEGIN AudioPlaybackTask */
	audio_init();

	AudioEvent_t event;

  /* Infinite loop */
  for(;;)
  {
	  if (xQueueReceive(xAudioQueueHandle, &event, portMAX_DELAY))
	  {
		  audio_process(event);
	  }
	  osDelay(10);
  }
  /* USER CODE END AudioPlaybackTask */
}

void LCDStartTask(void *argument)
{
  /* USER CODE BEGIN LCDStartTask */
	hx8357_init();
	menu_init();

	LCDTaskEvent_t lcd_event;

  /* Infinite loop */
	for(;;)
	{
		if (xQueueReceive(xLCDQueueHandle, &lcd_event, portMAX_DELAY))
		{
			switch(lcd_event.event)
			{
			case LCD_EVENT_IDLE:
				break;
			case LCD_EVENT_BTN:
				menu_handle_button(lcd_event.btn);
				break;
			case LCD_EVENT_PROGRESS:
				update_progress_bar(lcd_event.value);
				break;
			case LCD_EVENT_RTC:
				update_date_time();
				break;
			}
		}
	}
  /* USER CODE END LCDStartTask */
}

void InputTask(void *argument)
{
  /* USER CODE BEGIN InputTask */
	mcp23008_btns_init();
//	char msg[64];

	LCDTaskEvent_t lcd_event = { .event = LCD_EVENT_BTN };

  /* Infinite loop */
	for(;;)
	{
		if (mcp23008_keys_poll(&lcd_event.btn))
		{
			//DrawDebugInfo(&btn_event);

//			sprintf(msg, "BTN: %s, %s\r\n", ButtonToString(lcd_event.btn.button), ButtonActionToString(lcd_event.btn.action));
//			Print_Msg(msg);

			if ((lcd_event.btn.button != BTN_NONE) && (lcd_event.btn.action == BA_PRESSED))
			{
				xQueueSend(xLCDQueueHandle, &lcd_event, portMAX_DELAY);
			}
		}
		osDelay(20);
	}
  /* USER CODE END InputTask */
}

 /* MPU Configuration */

void MPU_Config(void)
{
  MPU_Region_InitTypeDef MPU_InitStruct = {0};

  /* Disables the MPU */
  HAL_MPU_Disable();

  /** Initializes and configures the Region and the memory to be protected
  */
  MPU_InitStruct.Enable = MPU_REGION_ENABLE;
  MPU_InitStruct.Number = MPU_REGION_NUMBER0;
  MPU_InitStruct.BaseAddress = 0x0;
  MPU_InitStruct.Size = MPU_REGION_SIZE_4GB;
  MPU_InitStruct.SubRegionDisable = 0x87;
  MPU_InitStruct.TypeExtField = MPU_TEX_LEVEL0;
  MPU_InitStruct.AccessPermission = MPU_REGION_NO_ACCESS;
  MPU_InitStruct.DisableExec = MPU_INSTRUCTION_ACCESS_DISABLE;
  MPU_InitStruct.IsShareable = MPU_ACCESS_SHAREABLE;
  MPU_InitStruct.IsCacheable = MPU_ACCESS_NOT_CACHEABLE;
  MPU_InitStruct.IsBufferable = MPU_ACCESS_NOT_BUFFERABLE;

  HAL_MPU_ConfigRegion(&MPU_InitStruct);
  /* Enables the MPU */
  HAL_MPU_Enable(MPU_PRIVILEGED_DEFAULT);

}

void HAL_TIM_PeriodElapsedCallback(TIM_HandleTypeDef *htim)
{
  if (htim->Instance == TIM1)
  {
    HAL_IncTick();
  }
}

void Error_Handler(void)
{
  __disable_irq();
  while (1)
  {
  }
}
